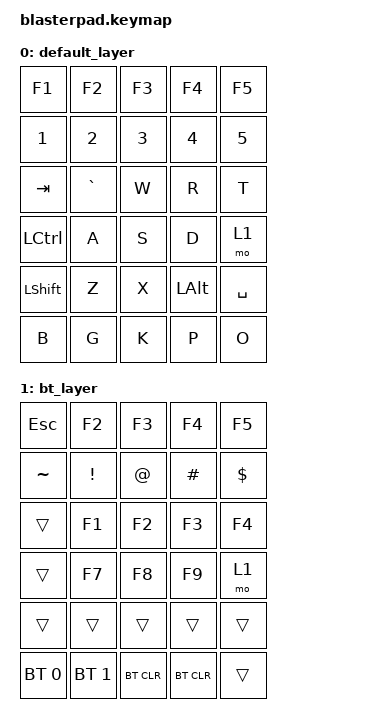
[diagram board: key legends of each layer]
#include <behaviors.dtsi>
#include <dt-bindings/zmk/keys.h>
#include <dt-bindings/zmk/bt.h>


/ {
    keymap {
        compatible = "zmk,keymap";

        default_layer {
            // ------------------------------------------------------------------------------------------
            // |  ESC  |  1   |  2   |  3   |  4   | 
            // |  TAB  |  Q   |  W   |  E   |  R   | 
            // | SHIFT |  A   |  S   |  D   |  F   | 
            // | CTRL  |  Z   |  X   |  C   |  V   | 
            // |ADJUST | LCTL | LALT | LGUI | LOWR | 

            bindings = <
                &kp F1     &kp F2     &kp F3   &kp F4    &kp F5
                &kp N1     &kp N2     &kp N3   &kp N4    &kp N5
                &kp TAB    &kp GRAVE  &kp W    &kp R     &kp T
                &kp LCTRL  &kp A      &kp S    &kp D     &mo 1
                &kp LSHIFT &kp Z      &kp X    &kp LALT  &kp SPACE
                &kp B      &kp G      &kp K    &kp P     &kp O
            >;
        };

        bt_layer {
            // -------------------------------------------------------------------------------------------
            // |  ESC  |  F2  |  F3  |  F4  |  F5  |
            // |   ~   |  !   |  @   |  #   |  $   |
            // |       |  F1  |  F2  |  F3  |  F4  |
            // |       |  F7  |  F8  |  F9  |  F10 |
            // |       |      |      |      |      |
            bindings = <
                &kp ESC        &kp F2         &kp F3       &kp F4       &kp F5
                &kp TILDE      &kp EXCL       &kp AT       &kp HASH     &kp DLLR
                &trans         &kp F1         &kp F2       &kp F3       &kp F4
                &trans         &kp F7         &kp F8       &kp F9       &mo 1
                &trans         &trans         &trans       &trans       &trans
                &bt BT_SEL 0   &bt BT_SEL 1   &bt BT_CLR   &bt BT_CLR   &trans
            >;
        };
    };
};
